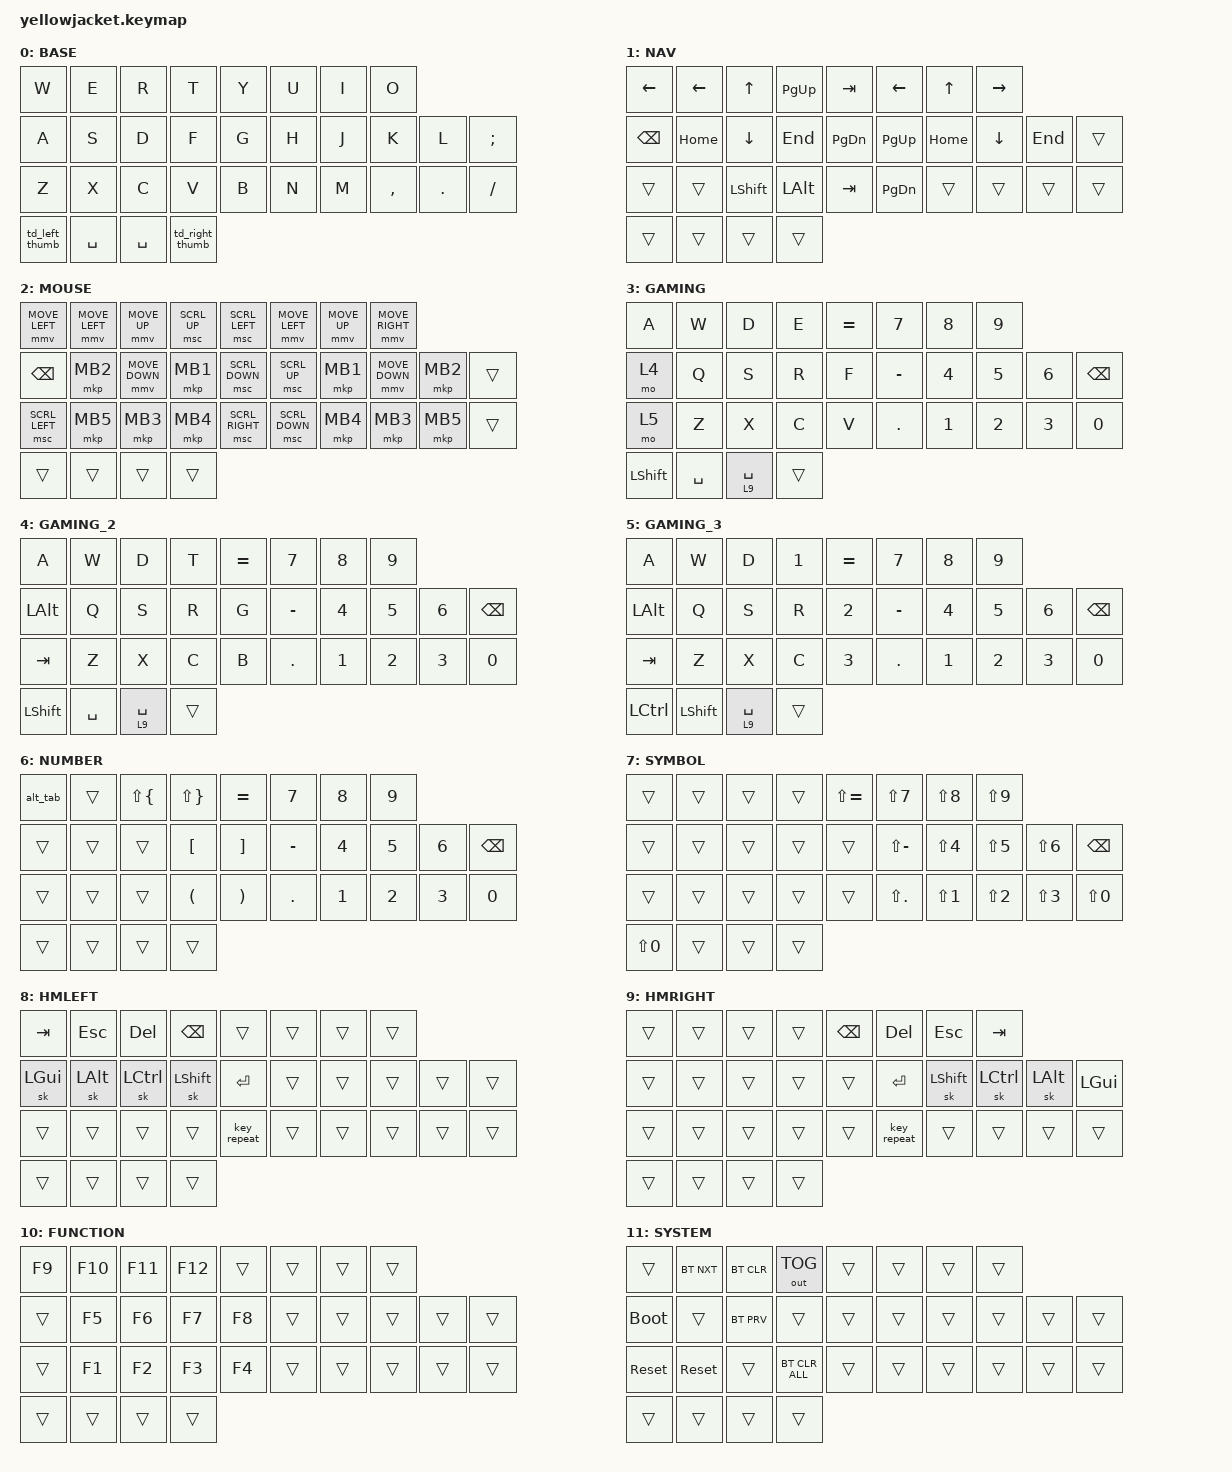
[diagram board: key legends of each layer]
/*
 * Copyright (c) 2020 The ZMK Contributors
 *
 * SPDX-License-Identifier: MIT
 */

#include <dt-bindings/zmk/mouse.h>

// Set mouse movement speed before including pointing.h

#define ZMK_POINTING_DEFAULT_MOVE_VAL 1500  // default: 600
#define ZMK_POINTING_DEFAULT_SCRL_VAL 20    // default: 10

#include <behaviors.dtsi>
#include <dt-bindings/zmk/bt.h>
#include <dt-bindings/zmk/keys.h>
#include <dt-bindings/zmk/outputs.h>
#include <dt-bindings/zmk/pointing.h>

#define BASE 0
#define NAV  1
#define MOUSE  2
#define GAMING  3
#define GAMING_2 4
#define GAMING_3 5
#define NUMBER 6
#define SYMBOL_SHIFT 7
#define HOMEROW_LEFT 8
#define HOMEROW_RIGHT 9
#define FUNCTION 10
#define ADJUST 11
#define B0     BT_SEL 0
#define B1     BT_SEL 1
#define B2     BT_SEL 2
#define B3     BT_SEL 3
#define B4     BT_SEL 4
#define B5     BT_SEL 5
#define OTGL   out OUT_TOG
#define BT_C   BT_CLR
#define BT_C_A BT_CLR_ALL

&mt {
    quick-tap-ms = <100>;
    global-quick-tap;
    flavor = "tap-preferred";
    tapping-term-ms = <135>;
    require-prior-idle-ms = <125>;
};

// Configure mouse movement for quick response with acceleration

/ {
    behaviors {
        td_left_thumb: tap_dance_left_thumb {
            compatible = "zmk,behavior-tap-dance";
            #binding-cells = <0>;
            tapping-term-ms = <200>;
            bindings = <&mo 8>, <&mo 1>;
        };

        td_right_thumb: tap_dance_right_thumb {
            compatible = "zmk,behavior-tap-dance";
            #binding-cells = <0>;
            tapping-term-ms = <200>;
            bindings = <&mo 9>, <&mo 6>;
        };
    };

    combos {
        compatible = "zmk,combos";

        reset_layers {
            bindings = <&to 0>;
            key-positions = <30 29>;
            require-prior-idle-ms = <100>;
        };

        quote {
            bindings = <&kp SQT>;
            key-positions = <15 16>;
            layers = <0>;
        };

        system_layer {
            bindings = <&to 11>;
            key-positions = <29 18>;
            layers = <0>;
        };

        // Left hand modifiers with left space
        // Right hand modifiers with right space

        activate-gaming {
            bindings = <&to 3>;
            key-positions = <8 9 10>;
            layers = <0>;
        };

        q {
            bindings = <&kp Q>;
            key-positions = <0 1>;
            layers = <0>;
            require-prior-idle-ms = <125>;
        };

        p {
            bindings = <&kp P>;
            key-positions = <6 7>;
            layers = <0>;
            require-prior-idle-ms = <125>;
        };

        esc {
            bindings = <&kp ESC>;
            key-positions = <1 2>;
            layers = <0>;
            require-prior-idle-ms = <125>;
        };

        grave {
            bindings = <&kp GRAVE>;
            key-positions = <14 15>;
            layers = <0>;
        };
    };

    macros {
        delete: delete {
            compatible = "zmk,behavior-macro";
            #binding-cells = <0>;
            bindings = <&macro_tap>, <&kp LS(BACKSPACE)>;

            label = "DELETE";
        };

        alt_tab: alt_tab {
            compatible = "zmk,behavior-macro";
            #binding-cells = <0>;
            bindings =
                <&macro_press>,
                <&kp LALT>,
                <&macro_tap>,
                <&kp TAB>,
                <&macro_release>,
                <&kp LALT>;

            label = "ALT_TAB";
        };
    };

    keymap {
        compatible = "zmk,keymap";

        base_layer {
            label = "BASE";
            bindings = <
&kp W           &kp E      &kp R      &kp T            &kp Y  &kp U  &kp I  &kp O
&kp A           &kp S      &kp D      &kp F            &kp G  &kp H  &kp J  &kp K      &kp L    &kp SEMI
&kp Z           &kp X      &kp C      &kp V            &kp B  &kp N  &kp M  &kp COMMA  &kp DOT  &kp FSLH
&td_left_thumb  &kp SPACE  &kp SPACE  &td_right_thumb
            >;
        };

        nav {
            label = "NAV";
            bindings = <
&kp LEFT_ARROW  &kp LEFT  &kp UP     &kp PG_UP  &kp TAB    &kp LEFT   &kp UP    &kp RIGHT
&kp BACKSPACE   &kp HOME  &kp DOWN   &kp END    &kp PG_DN  &kp PG_UP  &kp HOME  &kp DOWN   &kp END  &trans
&trans          &trans    &kp LSHFT  &kp LALT   &kp TAB    &kp PG_DN  &trans    &trans     &trans   &trans
&trans          &trans    &trans     &trans
            >;
        };

        mouse {
            label = "MOUSE";
            bindings = <
&mmv MOVE_LEFT  &mmv MOVE_LEFT  &mmv MOVE_UP    &msc SCRL_UP  &msc SCRL_LEFT   &mmv MOVE_LEFT  &mmv MOVE_UP  &mmv MOVE_RIGHT
&kp BACKSPACE   &mkp MB2        &mmv MOVE_DOWN  &mkp MB1      &msc SCRL_DOWN   &msc SCRL_UP    &mkp MB1      &mmv MOVE_DOWN   &mkp MB2  &trans
&msc SCRL_LEFT  &mkp MB5        &mkp MB3        &mkp MB4      &msc SCRL_RIGHT  &msc SCRL_DOWN  &mkp MB4      &mkp MB3         &mkp MB5  &trans
&trans          &trans          &trans          &trans
            >;
        };

        gaming {
            label = "GAMING";
            bindings = <
&kp A           &kp W      &kp D        &kp E   &kp EQUAL  &kp N7     &kp N8  &kp N9
&mo 4           &kp Q      &kp S        &kp R   &kp F      &kp MINUS  &kp N4  &kp N5  &kp N6  &kp BACKSPACE
&mo 5           &kp Z      &kp X        &kp C   &kp V      &kp DOT    &kp N1  &kp N2  &kp N3  &kp N0
&kp LEFT_SHIFT  &kp SPACE  &lt 9 SPACE  &trans
            >;
        };

        gaming_2 {
            label = "GAMING_2";
            bindings = <
&kp A           &kp W      &kp D        &kp T   &kp EQUAL  &kp N7     &kp N8  &kp N9
&kp LEFT_ALT    &kp Q      &kp S        &kp R   &kp G      &kp MINUS  &kp N4  &kp N5  &kp N6  &kp BACKSPACE
&kp TAB         &kp Z      &kp X        &kp C   &kp B      &kp DOT    &kp N1  &kp N2  &kp N3  &kp N0
&kp LEFT_SHIFT  &kp SPACE  &lt 9 SPACE  &trans
            >;
        };

        gaming_3 {
            label = "GAMING_3";
            bindings = <
&kp A         &kp W      &kp D        &kp NUMBER_1  &kp EQUAL     &kp N7     &kp N8  &kp N9
&kp LEFT_ALT  &kp Q      &kp S        &kp R         &kp NUMBER_2  &kp MINUS  &kp N4  &kp N5  &kp N6  &kp BACKSPACE
&kp TAB       &kp Z      &kp X        &kp C         &kp NUMBER_3  &kp DOT    &kp N1  &kp N2  &kp N3  &kp N0
&kp LCTRL     &kp LSHFT  &lt 9 SPACE  &trans
            >;
        };

        number {
            label = "NUMBER";
            bindings = <
&alt_tab  &trans  &kp LS(LEFT_BRACE)  &kp LS(RIGHT_BRACE)   &kp EQUAL              &kp N7      &kp N8        &kp N9
&trans    &trans  &trans              &kp LBKT              &kp RBKT               &kp MINUS   &kp N4        &kp N5  &kp N6  &kp BSPC
&trans    &trans  &trans              &kp LEFT_PARENTHESIS  &kp RIGHT_PARENTHESIS  &kp PERIOD  &kp NUMBER_1  &kp N2  &kp N3  &kp N0
&trans    &trans  &trans              &trans
            >;
        };

        symbol_shift {
            label = "SYMBOL";
            bindings = <
&trans      &trans  &trans  &trans  &kp LS(EQUAL)  &kp LS(N7)      &kp LS(N8)        &kp LS(N9)
&trans      &trans  &trans  &trans  &trans         &kp LS(MINUS)   &kp LS(NUMBER_4)  &kp LS(N5)        &kp LS(NUMBER_6)  &kp BACKSPACE
&trans      &trans  &trans  &trans  &trans         &kp LS(PERIOD)  &kp LS(NUMBER_1)  &kp LS(NUMBER_2)  &kp LS(NUMBER_3)  &kp LS(N0)
&kp LS(N0)  &trans  &trans  &trans
            >;
        };

        homerow_left {
            label = "HMLEFT";
            bindings = <
&kp TAB   &kp ESCAPE  &kp DELETE  &kp BACKSPACE  &trans       &trans  &trans  &trans
&sk LGUI  &sk LALT    &sk LCTRL   &sk LSHFT      &kp ENTER    &trans  &trans  &trans  &trans  &trans
&trans    &trans      &trans      &trans         &key_repeat  &trans  &trans  &trans  &trans  &trans
&trans    &trans      &trans      &trans
            >;
        };

        homerow_right {
            label = "HMRIGHT";
            bindings = <
&trans  &trans  &trans  &trans  &kp BACKSPACE  &kp DEL      &kp ESC    &kp TAB
&trans  &trans  &trans  &trans  &trans         &kp ENTER    &sk LSHFT  &sk LCTRL  &sk LALT  &kp LGUI
&trans  &trans  &trans  &trans  &trans         &key_repeat  &trans     &trans     &trans    &trans
&trans  &trans  &trans  &trans
            >;
        };

        function {
            label = "FUNCTION";
            bindings = <
&kp F9  &kp F10  &kp F11  &kp F12  &trans  &trans  &trans  &trans
&trans  &kp F5   &kp F6   &kp F7   &kp F8  &trans  &trans  &trans  &trans  &trans
&trans  &kp F1   &kp F2   &kp F3   &kp F4  &trans  &trans  &trans  &trans  &trans
&trans  &trans   &trans   &trans
            >;
        };

        adjust_layer {
            label = "SYSTEM";
            bindings = <
&trans       &bt BT_NXT  &bt BT_CLR  &out OUT_TOG    &trans  &trans  &trans  &trans
&bootloader  &trans      &bt BT_PRV  &trans          &trans  &trans  &trans  &trans  &trans  &trans
&sys_reset   &sys_reset  &trans      &bt BT_CLR_ALL  &trans  &trans  &trans  &trans  &trans  &trans
&trans       &trans      &trans      &trans
            >;
        };
    };

    conditional_layers { compatible = "zmk,conditional-layers"; };
};
